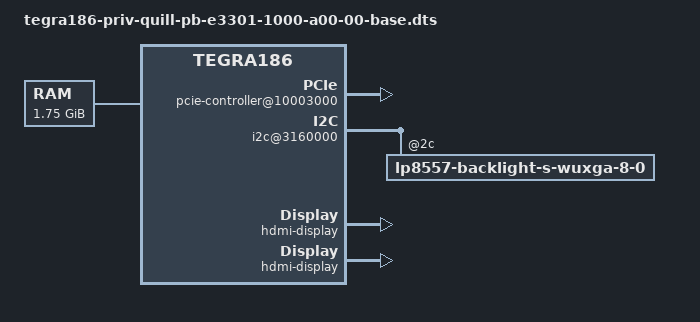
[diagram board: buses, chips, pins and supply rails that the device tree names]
/*
 * tegra186-quill-e3301-1000-a00-00-base.dts Quill-PB A00 Board
 *
 * Copyright (c) 2015-2016, NVIDIA CORPORATION.  All rights reserved.
 *
 * This program is free software; you can redistribute it and/or modify
 * it under the terms of the GNU General Public License as published by
 * the Free Software Foundation; version 2 of the License.
 *
 * This program is distributed in the hope that it will be useful, but WITHOUT
 * ANY WARRANTY; without even the implied warranty of MERCHANTABILITY or
 * FITNESS FOR A PARTICULAR PURPOSE.  See the GNU General Public License for
 * more details.
 */

#include "tegra186-platforms/tegra186-quill-common-e3301-0000-a00.dtsi"
#include "tegra186-platforms/tegra186-quill-pb-power-tree-e3301-1000-a00-00.dtsi"
#include "tegra186-platforms/tegra186-quill-camera-e3323-a00.dtsi"
#include "tegra186-modules/tegra186-cvb-e3320-1000-a00.dtsi"
#include "tegra186-modules/tegra186-super-module-e2614-p2597-1000-a00.dtsi"
#include "tegra186-plugin-manager/tegra186-quill-e3301-0000-a00-plugin-manager.dtsi"
#include "tegra186-plugin-manager/tegra186-quill-display-plugin-manager.dtsi"
#include "tegra186-prod/tegra186-priv-quill-pb-e3301-1000-a00-prod.dtsi"

/ {
	nvidia,dtsfilename = __FILE__;
	nvidia,boardids = "3301:1000:A0";
	nvidia,proc-boardid = "3301:1000:A0";

	chosen {
		board-has-eeprom;
		bootargs ="console=ttyS0,115200";
		stdout-path = &uarta;
	};

	firmware {
		android {
			compatible = "android,firmware";
			hardware = "quill-pb";
		};
	};

	memory@80000000 {
		device_type = "memory";
		reg = <0x0 0x80000000 0x0 0x70000000>;
	};

	pinctrl@3520000 {
		status = "okay";
		pinctrl-0 = <&tegra_padctl_pinmux_default>;
		pinctrl-names = "default";
		tegra_padctl_pinmux_default: pinmux {
			usb2-micro-AB {
				nvidia,lanes = "otg-0";
				nvidia,function = "xusb";
				nvidia,port-cap = <TEGRA_PADCTL_PORT_OTG_CAP>;
			};
			usb3-micro-AB {
				nvidia,lanes = "usb3-1";
				nvidia,port-cap = <TEGRA_PADCTL_PORT_OTG_CAP>;
			};
			usb2-std-A-port2 {
				nvidia,lanes = "otg-2";
				nvidia,function = "xusb";
				nvidia,port-cap = <TEGRA_PADCTL_PORT_HOST_ONLY>;
			};
			usb3-std-A-port2 {
				nvidia,lanes = "usb3-2";
				nvidia,port-cap = <TEGRA_PADCTL_PORT_HOST_ONLY>;
			};
			hsic {
				nvidia,lanes = "hsic-0";
				nvidia,function = "hsic";
			};
		};
	};
	pcie-controller@10003000 {
		nvidia,lane-map = <0x211>;
		status = "okay";
		pci@1,0 {
			status = "okay";
		};
		pci@2,0 {
			status = "okay";
		};
		pci@3,0 {
			status = "okay";
		};
	};

	i2c@3160000 {
		lp8557-backlight-s-wuxga-8-0@2c {
			status = "okay";
		};
	};

	host1x {
		sor {
			status = "okay";
			hdmi-display {
				status = "okay";
				nvidia,audio-switch-name = "hdmi_audio";
				disp-default-out {
					nvidia,out-flags = <TEGRA_DC_OUT_HOTPLUG_HIGH>;
				};
			};
			dp-display {
				status = "disabled";
			};
		};
		sor1 {
			status = "okay";
			nvidia,audio-switch-name = "hdmi_audio";
			hdmi-display {
				status = "okay";
				disp-default-out {
					nvidia,out-flags = <TEGRA_DC_OUT_HOTPLUG_HIGH>;
				};
			};
			dp-display {
				status = "disabled";
			};
		};
	};
};
